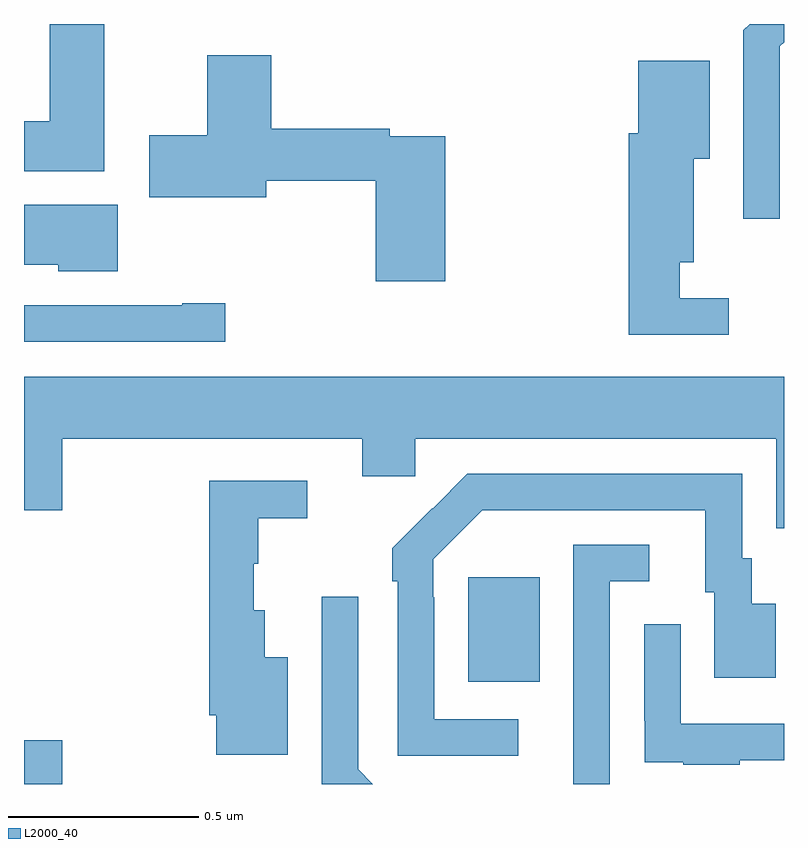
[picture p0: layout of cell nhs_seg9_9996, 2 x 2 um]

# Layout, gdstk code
import gdstk
lib = gdstk.Library(unit=1e-6, precision=1e-09)
def R(c, l, rs):  # rectangles x0, y0, x1, y1
    for r in rs: c.add(gdstk.rectangle(r[:2], r[2:], *l))
def P(c, l, *ps):  # polygons
    for p in ps: c.add(gdstk.Polygon(p, *l))
L2000_40 = (2000, 40)

nhs_seg9_9996 = lib.new_cell('nhs_seg9_9996')
R(nhs_seg9_9996, L2000_40, [(237,1207.5,237.1,1207.615), (238.169,1207.769,238.357,1208.044)])
P(nhs_seg9_9996, L2000_40, [(237.211,1209.5),(237.068,1209.5),(237.068,1209.244),(237,1209.244),(237,1209.113),(237.211,1209.113)],
  [(238.989,1209.441),(239,1209.452),(239,1209.5),(238.91,1209.5),(238.893,1209.483),(238.893,1208.988),(238.989,1208.988)],
  [(238.109,1209.204),(237.962,1209.204),(237.962,1209.224),(237.65,1209.224),(237.65,1209.418),(237.482,1209.418),(237.482,1209.207),(237.33,1209.207),(237.33,1209.044),(237.637,1209.044),(237.637,1209.088),(237.926,1209.088),(237.926,1208.823),(238.109,1208.823)],
  [(238.855,1208.778),(238.726,1208.778),(238.726,1208.873),(238.762,1208.873),(238.762,1209.146),(238.804,1209.146),(238.804,1209.403),(238.616,1209.403),(238.616,1209.213),(238.592,1209.213),(238.592,1208.682),(238.855,1208.682)],
  [(237.247,1209.025),(237,1209.025),(237,1208.867),(237.09,1208.867),(237.09,1208.849),(237.247,1208.849)],
  [(237.529,1208.765),(237.416,1208.765),(237.416,1208.76),(237,1208.76),(237,1208.664),(237.529,1208.664)],
  [(239,1208.572),(237,1208.572),(237,1208.22),(237.1,1208.22),(237.1,1208.408),(237.89,1208.408),(237.89,1208.31),(238.029,1208.31),(238.029,1208.408),(238.979,1208.408),(238.979,1208.173),(239,1208.173)],
  [(238.3,1207.671),(238.08,1207.671),(238.08,1207.991),(238.077,1207.991),(238.077,1208.091),(238.206,1208.22),(238.793,1208.22),(238.793,1208.004),(238.817,1208.004),(238.817,1207.779),(238.978,1207.779),(238.978,1207.975),(238.915,1207.975),(238.915,1208.094),(238.89,1208.094),(238.89,1208.316),(238.166,1208.316),(238.075,1208.225),(238.074,1208.226),(237.969,1208.121),(237.969,1208.033),(237.984,1208.033),(237.984,1207.575),(238.3,1207.575)],
  [(237.694,1207.834),(237.634,1207.834),(237.634,1207.957),(237.605,1207.957),(237.605,1208.079),(237.616,1208.079),(237.616,1208.2),(237.745,1208.2),(237.745,1208.298),(237.487,1208.298),(237.487,1207.681),(237.506,1207.681),(237.506,1207.577),(237.694,1207.577)],
  [(238.542,1208.034),(238.645,1208.034),(238.645,1208.13),(238.446,1208.13),(238.446,1207.673),(238.445,1207.673),(238.445,1207.5),(238.542,1207.5)],
  [(237.879,1207.539),(237.879,1207.993),(237.783,1207.993),(237.783,1207.5),(237.918,1207.5)],
  [(238.883,1207.563),(239,1207.563),(239,1207.659),(238.728,1207.659),(238.728,1207.921),(238.632,1207.921),(238.632,1207.666),(238.633,1207.666),(238.633,1207.557),(238.735,1207.557),(238.735,1207.551),(238.883,1207.551)])

lib.write_gds('nhs_seg9_9996.gds')
